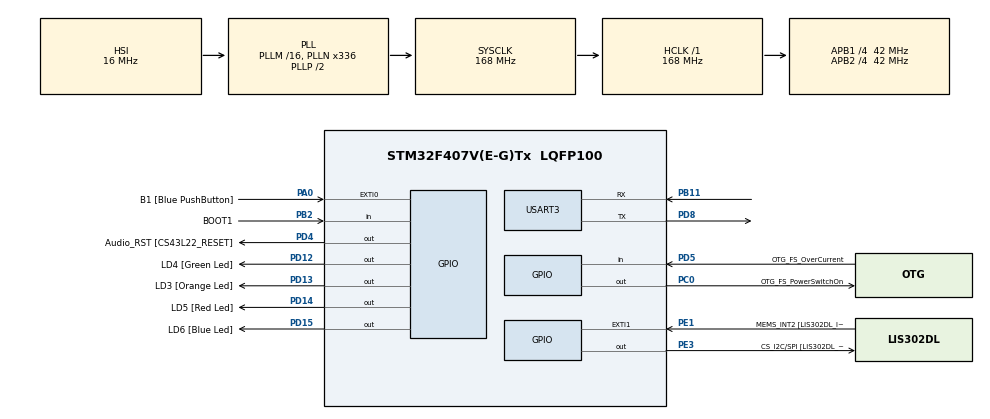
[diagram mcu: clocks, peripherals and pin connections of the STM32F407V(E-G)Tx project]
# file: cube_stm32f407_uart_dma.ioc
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Dma.Request0=USART3_TX
Dma.Request1=USART3_RX
Dma.USART3_RX.1.Direction=DMA_PERIPH_TO_MEMORY
Dma.USART3_RX.1.FIFOMode=DMA_FIFOMODE_DISABLE
Dma.USART3_RX.1.Instance=DMA1_Stream1
Dma.USART3_RX.1.MemDataAlignment=DMA_MDATAALIGN_BYTE
Dma.USART3_RX.1.MemInc=DMA_MINC_ENABLE
Dma.USART3_RX.1.Mode=DMA_CIRCULAR
Dma.USART3_RX.1.PeriphDataAlignment=DMA_PDATAALIGN_BYTE
Dma.USART3_RX.1.PeriphInc=DMA_PINC_DISABLE
Dma.USART3_RX.1.Priority=DMA_PRIORITY_MEDIUM
Dma.USART3_TX.0.Direction=DMA_MEMORY_TO_PERIPH
Dma.USART3_TX.0.FIFOMode=DMA_FIFOMODE_ENABLE
Dma.USART3_TX.0.FIFOThreshold=DMA_FIFO_THRESHOLD_FULL
Dma.USART3_TX.0.Instance=DMA1_Stream3
Dma.USART3_TX.0.MemBurst=DMA_MBURST_SINGLE
Dma.USART3_TX.0.MemDataAlignment=DMA_MDATAALIGN_BYTE
Dma.USART3_TX.0.MemInc=DMA_MINC_ENABLE
Dma.USART3_TX.0.Mode=DMA_NORMAL
Dma.USART3_TX.0.PeriphBurst=DMA_PBURST_SINGLE
Dma.USART3_TX.0.PeriphDataAlignment=DMA_PDATAALIGN_BYTE
Dma.USART3_TX.0.PeriphInc=DMA_PINC_DISABLE
Dma.USART3_TX.0.Priority=DMA_PRIORITY_LOW
Mcu.Family=STM32F4
Mcu.Name=STM32F407V(E-G)Tx
Mcu.Package=LQFP100
NVIC.DMA1_Stream1_IRQn=true\:0\:0\:false\:false\:true
NVIC.DMA1_Stream3_IRQn=true\:0\:0\:false\:false\:true
NVIC.PriorityGroup=NVIC_PRIORITYGROUP_0
NVIC.USART3_IRQn=true\:0\:0\:false\:false\:true
PA0-WKUP.GPIO_Label=B1 [Blue PushButton]
PA0-WKUP.GPIO_ModeDefaultEXTI=GPIO_MODE_EVT_RISING
PA0-WKUP.GPIO_PuPd=GPIO_NOPULL
PA0-WKUP.Signal=GPXTI0
PA10.GPIO_Label=OTG_FS_ID
PA10.GPIO_Mode=GPIO_MODE_AF_PP
PA10.GPIO_PuPd=GPIO_NOPULL
PA10.GPIO_Speed=GPIO_SPEED_FREQ_LOW
PA10.Signal=USB_OTG_FS_ID
PA11.GPIO_Label=OTG_FS_DM
PA11.GPIO_Mode=GPIO_MODE_AF_PP
PA11.GPIO_PuPd=GPIO_NOPULL
PA11.GPIO_Speed=GPIO_SPEED_FREQ_LOW
PA11.Signal=USB_OTG_FS_DM
PA12.GPIO_Label=OTG_FS_DP
PA12.GPIO_Mode=GPIO_MODE_AF_PP
PA12.GPIO_PuPd=GPIO_NOPULL
PA12.GPIO_Speed=GPIO_SPEED_FREQ_LOW
PA12.Signal=USB_OTG_FS_DP
PA13.GPIO_Label=SWDIO
PA13.Signal=SYS_JTMS-SWDIO
PA14.GPIO_Label=SWCLK
PA14.Signal=SYS_JTCK-SWCLK
PA4.GPIO_Label=I2S3_WS [CS43L22_LRCK]
PA4.GPIO_Mode=GPIO_MODE_AF_PP
PA4.GPIO_PuPd=GPIO_NOPULL
PA4.GPIO_Speed=GPIO_SPEED_FREQ_LOW
PA4.Signal=I2S3_WS
PA5.GPIO_Label=SPI1_SCK [LIS302DL_SCL/SPC]
PA5.GPIO_Mode=GPIO_MODE_AF_PP
PA5.GPIO_PuPd=GPIO_NOPULL
PA5.GPIO_Speed=GPIO_SPEED_FREQ_LOW
PA5.Signal=SPI1_SCK
PA6.GPIO_Label=SPI1_MISO [LIS302DL_SDO]
PA6.GPIO_Mode=GPIO_MODE_AF_PP
PA6.GPIO_PuPd=GPIO_NOPULL
PA6.GPIO_Speed=GPIO_SPEED_FREQ_LOW
PA6.Signal=SPI1_MISO
PA7.GPIO_Label=SPI1_MOSI [LIS302DL_SDA/SDI/SDO]
PA7.GPIO_Mode=GPIO_MODE_AF_PP
PA7.GPIO_PuPd=GPIO_NOPULL
PA7.GPIO_Speed=GPIO_SPEED_FREQ_LOW
PA7.Signal=SPI1_MOSI
PA9.GPIO_Label=VBUS_FS
PA9.GPIO_Mode=GPIO_MODE_INPUT
PA9.GPIO_PuPd=GPIO_NOPULL
PA9.Signal=USB_OTG_FS_VBUS
PB10.GPIO_Label=CLK_IN [MP45DT02_CLK]
PB10.GPIO_Mode=GPIO_MODE_AF_PP
PB10.GPIO_PuPd=GPIO_NOPULL
PB10.GPIO_Speed=GPIO_SPEED_FREQ_LOW
PB10.Signal=I2S2_CK
PB11.Mode=Asynchronous
PB11.Signal=USART3_RX
PB2.GPIO_Label=BOOT1
PB2.GPIO_Mode=GPIO_MODE_INPUT
PB2.GPIO_PuPd=GPIO_NOPULL
PB2.Signal=GPIO_Input
PB3.GPIO_Label=SWO
PB3.Signal=SYS_JTDO-SWO
PB6.GPIO_Label=Audio_SCL [CS43L22_SCL]
PB6.GPIO_Mode=GPIO_MODE_AF_OD
PB6.GPIO_PuPd=GPIO_NOPULL
PB6.GPIO_Speed=GPIO_SPEED_FREQ_LOW
PB6.Signal=I2C1_SCL
PB9.GPIO_Label=Audio_SDA [CS43L22_SDA]
PB9.GPIO_Mode=GPIO_MODE_AF_OD
PB9.GPIO_PuPd=GPIO_NOPULL
PB9.GPIO_Speed=GPIO_SPEED_FREQ_LOW
PB9.Signal=I2C1_SDA
PC0.GPIO_Label=OTG_FS_PowerSwitchOn
PC0.GPIO_PuPd=GPIO_NOPULL
PC0.GPIO_Speed=GPIO_SPEED_FREQ_LOW
PC0.PinState=GPIO_PIN_SET
PC0.Signal=GPIO_Output
PC10.GPIO_Label=I2S3_SCK [CS43L22_SCLK]
PC10.GPIO_Mode=GPIO_MODE_AF_PP
PC10.GPIO_PuPd=GPIO_NOPULL
PC10.GPIO_Speed=GPIO_SPEED_FREQ_LOW
PC10.Signal=I2S3_CK
PC12.GPIO_Label=I2S3_SD [CS43L22_SDIN]
PC12.GPIO_Mode=GPIO_MODE_AF_PP
PC12.GPIO_PuPd=GPIO_NOPULL
PC12.GPIO_Speed=GPIO_SPEED_FREQ_LOW
PC12.Signal=I2S3_SD
PC14-OSC32_IN.GPIO_Label=PC14-OSC32_IN
PC14-OSC32_IN.Signal=RCC_OSC32_IN
PC15-OSC32_OUT.GPIO_Label=PC15-OSC32_OUT
PC15-OSC32_OUT.Signal=RCC_OSC32_OUT
PC3.GPIO_Label=PDM_OUT [MP45DT02_DOUT]
PC3.GPIO_Mode=GPIO_MODE_AF_PP
PC3.GPIO_PuPd=GPIO_NOPULL
PC3.GPIO_Speed=GPIO_SPEED_FREQ_LOW
PC3.Signal=I2S2_SD
PC7.GPIO_Label=I2S3_MCK [CS43L22_MCLK]
PC7.GPIO_Mode=GPIO_MODE_AF_PP
PC7.GPIO_PuPd=GPIO_NOPULL
PC7.GPIO_Speed=GPIO_SPEED_FREQ_LOW
PC7.Signal=I2S3_MCK
PD12.GPIO_Label=LD4 [Green Led]
PD12.GPIO_PuPd=GPIO_NOPULL
PD12.GPIO_Speed=GPIO_SPEED_FREQ_LOW
PD12.Signal=GPIO_Output
PD13.GPIO_Label=LD3 [Orange Led]
PD13.GPIO_PuPd=GPIO_NOPULL
PD13.GPIO_Speed=GPIO_SPEED_FREQ_LOW
PD13.Signal=GPIO_Output
PD14.GPIO_Label=LD5 [Red Led]
PD14.GPIO_PuPd=GPIO_NOPULL
PD14.GPIO_Speed=GPIO_SPEED_FREQ_LOW
PD14.Signal=GPIO_Output
PD15.GPIO_Label=LD6 [Blue Led]
PD15.GPIO_PuPd=GPIO_NOPULL
PD15.GPIO_Speed=GPIO_SPEED_FREQ_LOW
PD15.Signal=GPIO_Output
PD4.GPIO_Label=Audio_RST [CS43L22_RESET]
PD4.GPIO_PuPd=GPIO_NOPULL
PD4.GPIO_Speed=GPIO_SPEED_FREQ_LOW
PD4.Signal=GPIO_Output
PD5.GPIO_Label=OTG_FS_OverCurrent
PD5.GPIO_Mode=GPIO_MODE_INPUT
PD5.GPIO_PuPd=GPIO_NOPULL
PD5.Signal=GPIO_Input
PD8.Mode=Asynchronous
PD8.Signal=USART3_TX
PE1.GPIO_Label=MEMS_INT2 [LIS302DL_INT2]
PE1.GPIO_ModeDefaultEXTI=GPIO_MODE_EVT_RISING
PE1.GPIO_PuPd=GPIO_NOPULL
PE1.Signal=GPXTI1
PE3.GPIO_Label=CS_I2C/SPI [LIS302DL_CS_I2C/SPI]
PE3.GPIO_PuPd=GPIO_NOPULL
PE3.GPIO_Speed=GPIO_SPEED_FREQ_LOW
PE3.Signal=GPIO_Output
PH0-OSC_IN.GPIO_Label=PH0-OSC_IN
PH0-OSC_IN.Signal=RCC_OSC_IN
PH1-OSC_OUT.GPIO_Label=PH1-OSC_OUT
PH1-OSC_OUT.Signal=RCC_OSC_OUT
ProjectManager.HeapSize=0x200
ProjectManager.StackSize=0x400
ProjectManager.TargetToolchain=TrueSTUDIO
RCC.48MHZClocksFreq_Value=48000000
RCC.AHBFreq_Value=168000000
RCC.APB1CLKDivider=RCC_HCLK_DIV4
RCC.APB1Freq_Value=42000000
RCC.APB1TimFreq_Value=84000000
RCC.APB2CLKDivider=RCC_HCLK_DIV4
RCC.APB2Freq_Value=42000000
RCC.APB2TimFreq_Value=84000000
RCC.CortexFreq_Value=168000000
RCC.HCLKFreq_Value=168000000
RCC.HSE_VALUE=8000000
RCC.HSI_VALUE=16000000
RCC.LSE_VALUE=32768
RCC.PLLN=336
RCC.PLLQ=7
RCC.SYSCLKFreq_VALUE=168000000
RCC.SYSCLKSource=RCC_SYSCLKSOURCE_PLLCLK
RCC.VCOOutputFreq_Value=336000000
board=STM32F4DISCOVERY

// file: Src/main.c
/**
  ******************************************************************************
  * File Name          : main.c
  * Description        : Main program body
  ******************************************************************************
  *
  * COPYRIGHT(c) 2017 STMicroelectronics
  *
  * Redistribution and use in source and binary forms, with or without modification,
  * are permitted provided that the following conditions are met:
  *   1. Redistributions of source code must retain the above copyright notice,
  *      this list of conditions and the following disclaimer.
  *   2. Redistributions in binary form must reproduce the above copyright notice,
  *      this list of conditions and the following disclaimer in the documentation
  *      and/or other materials provided with the distribution.
  *   3. Neither the name of STMicroelectronics nor the names of its contributors
  *      may be used to endorse or promote products derived from this software
  *      without specific prior written permission.
  *
  * THIS SOFTWARE IS PROVIDED BY THE COPYRIGHT HOLDERS AND CONTRIBUTORS "AS IS"
  * AND ANY EXPRESS OR IMPLIED WARRANTIES, INCLUDING, BUT NOT LIMITED TO, THE
  * IMPLIED WARRANTIES OF MERCHANTABILITY AND FITNESS FOR A PARTICULAR PURPOSE ARE
  * DISCLAIMED. IN NO EVENT SHALL THE COPYRIGHT HOLDER OR CONTRIBUTORS BE LIABLE
  * FOR ANY DIRECT, INDIRECT, INCIDENTAL, SPECIAL, EXEMPLARY, OR CONSEQUENTIAL
  * DAMAGES (INCLUDING, BUT NOT LIMITED TO, PROCUREMENT OF SUBSTITUTE GOODS OR
  * SERVICES; LOSS OF USE, DATA, OR PROFITS; OR BUSINESS INTERRUPTION) HOWEVER
  * CAUSED AND ON ANY THEORY OF LIABILITY, WHETHER IN CONTRACT, STRICT LIABILITY,
  * OR TORT (INCLUDING NEGLIGENCE OR OTHERWISE) ARISING IN ANY WAY OUT OF THE USE
  * OF THIS SOFTWARE, EVEN IF ADVISED OF THE POSSIBILITY OF SUCH DAMAGE.
  *
  ******************************************************************************
  */
#include "main.h"
#include "stm32f4xx_hal.h"

/* USER CODE BEGIN Includes */
#include <stdio.h>
#include <string.h>
/* USER CODE END Includes */

UART_HandleTypeDef huart3;
DMA_HandleTypeDef hdma_usart3_tx;
DMA_HandleTypeDef hdma_usart3_rx;

/* USER CODE BEGIN PV */
/* Private variables ---------------------------------------------------------*/

/* USER CODE END PV */

void SystemClock_Config(void);
void Error_Handler(void);
static void MX_GPIO_Init(void);
static void MX_DMA_Init(void);
static void MX_USART3_UART_Init(void);

/* USER CODE BEGIN PFP */
/* Private function prototypes -----------------------------------------------*/

/* USER CODE END PFP */

/* USER CODE BEGIN 0 */
char	str[30], rx_byte = ' ';

void HAL_UART_TxCpltCallback(UART_HandleTypeDef *huart) {
//	GPIOD->ODR ^= GPIO_PIN_14;
	// TODO: unlock TX here
}

void HAL_UART_RxCpltCallback(UART_HandleTypeDef *huart) {
//    __HAL_UART_FLUSH_DRREGISTER(huart); // Clear the buffer to prevent overrun
	if (rx_byte == '\n' || rx_byte == '\r')
		GPIOD->ODR ^= GPIO_PIN_14;
	else
		HAL_UART_Transmit_DMA(huart, (uint8_t *)&rx_byte, sizeof(rx_byte));
//	else
		// TODO: push rx_byte onto string until \0
}

void HAL_UART_ErrorCallback(UART_HandleTypeDef *huart) {
	while (1) {
		GPIOD->ODR ^= GPIO_PIN_15;
	}
}

/* USER CODE END 0 */

int main(void)
{

  /* MCU Configuration----------------------------------------------------------*/

  /* Reset of all peripherals, Initializes the Flash interface and the Systick. */
  HAL_Init();

  /* Configure the system clock */
  SystemClock_Config();

  /* Initialize all configured peripherals */
  MX_GPIO_Init();
  MX_DMA_Init();
  MX_USART3_UART_Init();

  /* Infinite loop */
  /* USER CODE BEGIN WHILE */
  uint32_t i = 0, j = 0;
  HAL_StatusTypeDef retval;
  GPIOD->ODR ^= GPIO_PIN_14;
  retval = HAL_UART_Receive_DMA(&huart3, (uint8_t *)&rx_byte, sizeof(rx_byte));

  while (1)
  {
	  GPIOD->ODR ^= GPIO_PIN_12;
//	  GPIOD->ODR ^= GPIO_PIN_13;
//	  GPIOD->ODR ^= GPIO_PIN_14;
//	  GPIOD->ODR ^= GPIO_PIN_15;

	  if (i % 5000000 == 0) {
		  sprintf(str, "%d hello world! %d %c!\n\r", retval, (int)j, rx_byte);
		  retval = HAL_UART_Transmit_DMA(&huart3, (uint8_t *)str, strlen(str));

		  GPIOD->ODR ^= GPIO_PIN_15;
		  i = 0;
		  j++;
	  }
	  i++;
  /* USER CODE END WHILE */

  }

}

/** System Clock Configuration
*/
void SystemClock_Config(void)
{

  RCC_OscInitTypeDef RCC_OscInitStruct;
  RCC_ClkInitTypeDef RCC_ClkInitStruct;

    /**Configure the main internal regulator output voltage
    */
  __HAL_RCC_PWR_CLK_ENABLE();

  __HAL_PWR_VOLTAGESCALING_CONFIG(PWR_REGULATOR_VOLTAGE_SCALE1);

    /**Initializes the CPU, AHB and APB busses clocks
    */
  RCC_OscInitStruct.OscillatorType = RCC_OSCILLATORTYPE_HSI;
  RCC_OscInitStruct.HSIState = RCC_HSI_ON;
  RCC_OscInitStruct.HSICalibrationValue = 16;
  RCC_OscInitStruct.PLL.PLLState = RCC_PLL_ON;
  RCC_OscInitStruct.PLL.PLLSource = RCC_PLLSOURCE_HSI;
  RCC_OscInitStruct.PLL.PLLM = 16;
  RCC_OscInitStruct.PLL.PLLN = 336;
  RCC_OscInitStruct.PLL.PLLP = RCC_PLLP_DIV2;
  RCC_OscInitStruct.PLL.PLLQ = 7;
  if (HAL_RCC_OscConfig(&RCC_OscInitStruct) != HAL_OK)
  {
    Error_Handler();
  }

    /**Initializes the CPU, AHB and APB busses clocks
    */
  RCC_ClkInitStruct.ClockType = RCC_CLOCKTYPE_HCLK|RCC_CLOCKTYPE_SYSCLK
                              |RCC_CLOCKTYPE_PCLK1|RCC_CLOCKTYPE_PCLK2;
  RCC_ClkInitStruct.SYSCLKSource = RCC_SYSCLKSOURCE_PLLCLK;
  RCC_ClkInitStruct.AHBCLKDivider = RCC_SYSCLK_DIV1;
  RCC_ClkInitStruct.APB1CLKDivider = RCC_HCLK_DIV4;
  RCC_ClkInitStruct.APB2CLKDivider = RCC_HCLK_DIV4;

  if (HAL_RCC_ClockConfig(&RCC_ClkInitStruct, FLASH_LATENCY_5) != HAL_OK)
  {
    Error_Handler();
  }

    /**Configure the Systick interrupt time
    */
  HAL_SYSTICK_Config(HAL_RCC_GetHCLKFreq()/1000);

    /**Configure the Systick
    */
  HAL_SYSTICK_CLKSourceConfig(SYSTICK_CLKSOURCE_HCLK);

  /* SysTick_IRQn interrupt configuration */
  HAL_NVIC_SetPriority(SysTick_IRQn, 0, 0);
}

/* USART3 init function */
static void MX_USART3_UART_Init(void)
{

  huart3.Instance = USART3;
  huart3.Init.BaudRate = 115200;
  huart3.Init.WordLength = UART_WORDLENGTH_8B;
  huart3.Init.StopBits = UART_STOPBITS_1;
  huart3.Init.Parity = UART_PARITY_NONE;
  huart3.Init.Mode = UART_MODE_TX_RX;
  huart3.Init.HwFlowCtl = UART_HWCONTROL_NONE;
  huart3.Init.OverSampling = UART_OVERSAMPLING_16;
  if (HAL_UART_Init(&huart3) != HAL_OK)
  {
    Error_Handler();
  }

}

static void MX_DMA_Init(void)
{
  /* DMA controller clock enable */
  __HAL_RCC_DMA1_CLK_ENABLE();

  /* DMA interrupt init */
  /* DMA1_Stream1_IRQn interrupt configuration */
  HAL_NVIC_SetPriority(DMA1_Stream1_IRQn, 0, 0);
  HAL_NVIC_EnableIRQ(DMA1_Stream1_IRQn);
  /* DMA1_Stream3_IRQn interrupt configuration */
  HAL_NVIC_SetPriority(DMA1_Stream3_IRQn, 0, 0);
  HAL_NVIC_EnableIRQ(DMA1_Stream3_IRQn);

}

/** Configure pins as
        * Analog
        * Input
        * Output
        * EVENT_OUT
        * EXTI
     PC3   ------> I2S2_SD
     PA4   ------> I2S3_WS
     PA5   ------> SPI1_SCK
     PA6   ------> SPI1_MISO
     PA7   ------> SPI1_MOSI
     PB10   ------> I2S2_CK
     PC7   ------> I2S3_MCK
     PA9   ------> USB_OTG_FS_VBUS
     PA10   ------> USB_OTG_FS_ID
     PA11   ------> USB_OTG_FS_DM
     PA12   ------> USB_OTG_FS_DP
     PC10   ------> I2S3_CK
     PC12   ------> I2S3_SD
     PB6   ------> I2C1_SCL
     PB9   ------> I2C1_SDA
*/
static void MX_GPIO_Init(void)
{

  GPIO_InitTypeDef GPIO_InitStruct;

  /* GPIO Ports Clock Enable */
  __HAL_RCC_GPIOE_CLK_ENABLE();
  __HAL_RCC_GPIOC_CLK_ENABLE();
  __HAL_RCC_GPIOH_CLK_ENABLE();
  __HAL_RCC_GPIOA_CLK_ENABLE();
  __HAL_RCC_GPIOB_CLK_ENABLE();
  __HAL_RCC_GPIOD_CLK_ENABLE();

  /*Configure GPIO pin Output Level */
  HAL_GPIO_WritePin(CS_I2C_SPI_GPIO_Port, CS_I2C_SPI_Pin, GPIO_PIN_RESET);

  /*Configure GPIO pin Output Level */
  HAL_GPIO_WritePin(OTG_FS_PowerSwitchOn_GPIO_Port, OTG_FS_PowerSwitchOn_Pin, GPIO_PIN_SET);

  /*Configure GPIO pin Output Level */
  HAL_GPIO_WritePin(GPIOD, LD4_Pin|LD3_Pin|LD5_Pin|LD6_Pin
                          |Audio_RST_Pin, GPIO_PIN_RESET);

  /*Configure GPIO pin : CS_I2C_SPI_Pin */
  GPIO_InitStruct.Pin = CS_I2C_SPI_Pin;
  GPIO_InitStruct.Mode = GPIO_MODE_OUTPUT_PP;
  GPIO_InitStruct.Pull = GPIO_NOPULL;
  GPIO_InitStruct.Speed = GPIO_SPEED_FREQ_LOW;
  HAL_GPIO_Init(CS_I2C_SPI_GPIO_Port, &GPIO_InitStruct);

  /*Configure GPIO pin : OTG_FS_PowerSwitchOn_Pin */
  GPIO_InitStruct.Pin = OTG_FS_PowerSwitchOn_Pin;
  GPIO_InitStruct.Mode = GPIO_MODE_OUTPUT_PP;
  GPIO_InitStruct.Pull = GPIO_NOPULL;
  GPIO_InitStruct.Speed = GPIO_SPEED_FREQ_LOW;
  HAL_GPIO_Init(OTG_FS_PowerSwitchOn_GPIO_Port, &GPIO_InitStruct);

  /*Configure GPIO pin : PDM_OUT_Pin */
  GPIO_InitStruct.Pin = PDM_OUT_Pin;
  GPIO_InitStruct.Mode = GPIO_MODE_AF_PP;
  GPIO_InitStruct.Pull = GPIO_NOPULL;
  GPIO_InitStruct.Speed = GPIO_SPEED_FREQ_LOW;
  GPIO_InitStruct.Alternate = GPIO_AF5_SPI2;
  HAL_GPIO_Init(PDM_OUT_GPIO_Port, &GPIO_InitStruct);

  /*Configure GPIO pin : B1_Pin */
  GPIO_InitStruct.Pin = B1_Pin;
  GPIO_InitStruct.Mode = GPIO_MODE_EVT_RISING;
  GPIO_InitStruct.Pull = GPIO_NOPULL;
  HAL_GPIO_Init(B1_GPIO_Port, &GPIO_InitStruct);

  /*Configure GPIO pin : I2S3_WS_Pin */
  GPIO_InitStruct.Pin = I2S3_WS_Pin;
  GPIO_InitStruct.Mode = GPIO_MODE_AF_PP;
  GPIO_InitStruct.Pull = GPIO_NOPULL;
  GPIO_InitStruct.Speed = GPIO_SPEED_FREQ_LOW;
  GPIO_InitStruct.Alternate = GPIO_AF6_SPI3;
  HAL_GPIO_Init(I2S3_WS_GPIO_Port, &GPIO_InitStruct);

  /*Configure GPIO pins : SPI1_SCK_Pin SPI1_MISO_Pin SPI1_MOSI_Pin */
  GPIO_InitStruct.Pin = SPI1_SCK_Pin|SPI1_MISO_Pin|SPI1_MOSI_Pin;
  GPIO_InitStruct.Mode = GPIO_MODE_AF_PP;
  GPIO_InitStruct.Pull = GPIO_NOPULL;
  GPIO_InitStruct.Speed = GPIO_SPEED_FREQ_LOW;
  GPIO_InitStruct.Alternate = GPIO_AF5_SPI1;
  HAL_GPIO_Init(GPIOA, &GPIO_InitStruct);

  /*Configure GPIO pin : BOOT1_Pin */
  GPIO_InitStruct.Pin = BOOT1_Pin;
  GPIO_InitStruct.Mode = GPIO_MODE_INPUT;
  GPIO_InitStruct.Pull = GPIO_NOPULL;
  HAL_GPIO_Init(BOOT1_GPIO_Port, &GPIO_InitStruct);

  /*Configure GPIO pin : CLK_IN_Pin */
  GPIO_InitStruct.Pin = CLK_IN_Pin;
  GPIO_InitStruct.Mode = GPIO_MODE_AF_PP;
  GPIO_InitStruct.Pull = GPIO_NOPULL;
  GPIO_InitStruct.Speed = GPIO_SPEED_FREQ_LOW;
  GPIO_InitStruct.Alternate = GPIO_AF5_SPI2;
  HAL_GPIO_Init(CLK_IN_GPIO_Port, &GPIO_InitStruct);

  /*Configure GPIO pins : LD4_Pin LD3_Pin LD5_Pin LD6_Pin
                           Audio_RST_Pin */
  GPIO_InitStruct.Pin = LD4_Pin|LD3_Pin|LD5_Pin|LD6_Pin
                          |Audio_RST_Pin;
  GPIO_InitStruct.Mode = GPIO_MODE_OUTPUT_PP;
  GPIO_InitStruct.Pull = GPIO_NOPULL;
  GPIO_InitStruct.Speed = GPIO_SPEED_FREQ_LOW;
  HAL_GPIO_Init(GPIOD, &GPIO_InitStruct);

  /*Configure GPIO pins : I2S3_MCK_Pin I2S3_SCK_Pin I2S3_SD_Pin */
  GPIO_InitStruct.Pin = I2S3_MCK_Pin|I2S3_SCK_Pin|I2S3_SD_Pin;
  GPIO_InitStruct.Mode = GPIO_MODE_AF_PP;
  GPIO_InitStruct.Pull = GPIO_NOPULL;
  GPIO_InitStruct.Speed = GPIO_SPEED_FREQ_LOW;
  GPIO_InitStruct.Alternate = GPIO_AF6_SPI3;
  HAL_GPIO_Init(GPIOC, &GPIO_InitStruct);

  /*Configure GPIO pin : VBUS_FS_Pin */
  GPIO_InitStruct.Pin = VBUS_FS_Pin;
  GPIO_InitStruct.Mode = GPIO_MODE_INPUT;
  GPIO_InitStruct.Pull = GPIO_NOPULL;
  HAL_GPIO_Init(VBUS_FS_GPIO_Port, &GPIO_InitStruct);

  /*Configure GPIO pins : OTG_FS_ID_Pin OTG_FS_DM_Pin OTG_FS_DP_Pin */
  GPIO_InitStruct.Pin = OTG_FS_ID_Pin|OTG_FS_DM_Pin|OTG_FS_DP_Pin;
  GPIO_InitStruct.Mode = GPIO_MODE_AF_PP;
  GPIO_InitStruct.Pull = GPIO_NOPULL;
  GPIO_InitStruct.Speed = GPIO_SPEED_FREQ_LOW;
  GPIO_InitStruct.Alternate = GPIO_AF10_OTG_FS;
  HAL_GPIO_Init(GPIOA, &GPIO_InitStruct);

  /*Configure GPIO pin : OTG_FS_OverCurrent_Pin */
  GPIO_InitStruct.Pin = OTG_FS_OverCurrent_Pin;
  GPIO_InitStruct.Mode = GPIO_MODE_INPUT;
  GPIO_InitStruct.Pull = GPIO_NOPULL;
  HAL_GPIO_Init(OTG_FS_OverCurrent_GPIO_Port, &GPIO_InitStruct);

  /*Configure GPIO pins : Audio_SCL_Pin Audio_SDA_Pin */
  GPIO_InitStruct.Pin = Audio_SCL_Pin|Audio_SDA_Pin;
  GPIO_InitStruct.Mode = GPIO_MODE_AF_OD;
  GPIO_InitStruct.Pull = GPIO_PULLUP;
  GPIO_InitStruct.Speed = GPIO_SPEED_FREQ_LOW;
  GPIO_InitStruct.Alternate = GPIO_AF4_I2C1;
  HAL_GPIO_Init(GPIOB, &GPIO_InitStruct);

  /*Configure GPIO pin : MEMS_INT2_Pin */
  GPIO_InitStruct.Pin = MEMS_INT2_Pin;
  GPIO_InitStruct.Mode = GPIO_MODE_EVT_RISING;
  GPIO_InitStruct.Pull = GPIO_NOPULL;
  HAL_GPIO_Init(MEMS_INT2_GPIO_Port, &GPIO_InitStruct);

}

void Error_Handler(void)
{
  while(1)
  {
  }
}

/************************ (C) COPYRIGHT STMicroelectronics *****END OF FILE****/
